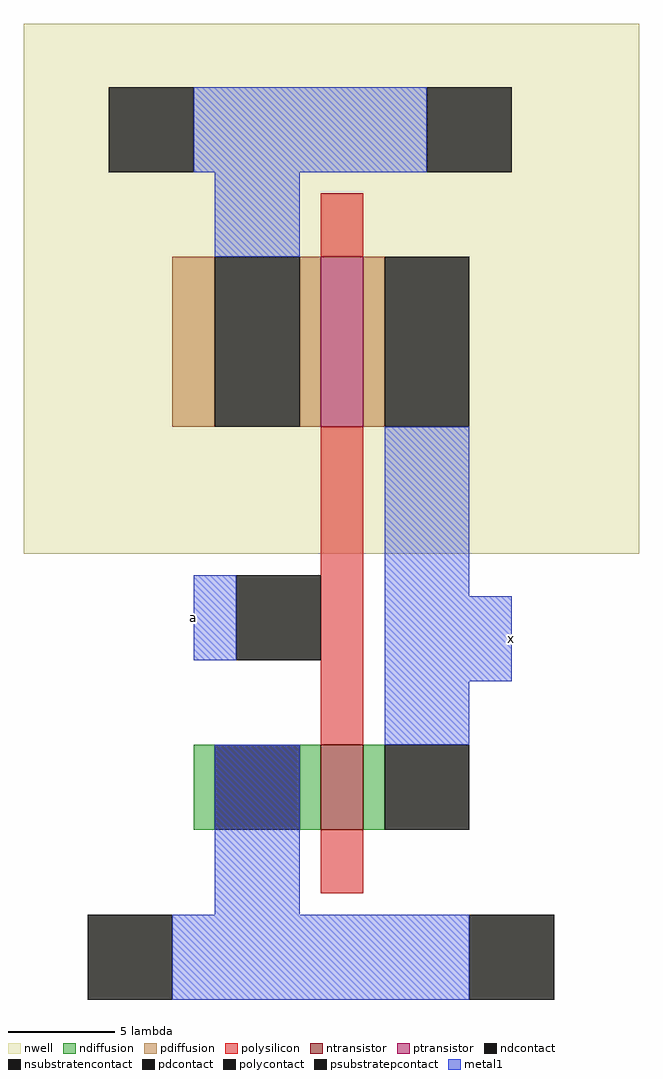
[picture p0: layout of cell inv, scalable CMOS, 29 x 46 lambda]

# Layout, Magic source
magic
tech scmos
<< nwell >>
rect -5 -5 24 20
<< ntransistor >>
rect 9 -18 11 -14
<< ptransistor >>
rect 9 1 11 9
<< ndiffusion >>
rect 3 -18 4 -14
rect 8 -18 9 -14
rect 11 -18 12 -14
<< pdiffusion >>
rect 2 1 4 9
rect 8 1 9 9
rect 11 1 12 9
<< ndcontact >>
rect 4 -18 8 -14
rect 12 -18 16 -14
rect 16 -26 20 -22
<< pdcontact >>
rect 4 1 8 9
rect 12 1 16 9
<< psubstratepcontact >>
rect -2 -26 2 -22
<< nsubstratencontact >>
rect -1 13 3 17
rect 14 13 18 17
<< polysilicon >>
rect 9 9 11 12
rect 9 -14 11 1
rect 9 -21 11 -18
<< polycontact >>
rect 5 -10 9 -6
<< metal1 >>
rect 3 13 14 17
rect 4 9 8 13
rect 3 -10 5 -6
rect 12 -7 16 1
rect 12 -11 18 -7
rect 12 -14 16 -11
rect 4 -22 8 -14
rect 2 -26 16 -22
<< labels >>
rlabel metal1 3 -10 3 -6 1 a
rlabel metal1 18 -11 18 -7 1 x
<< end >>
